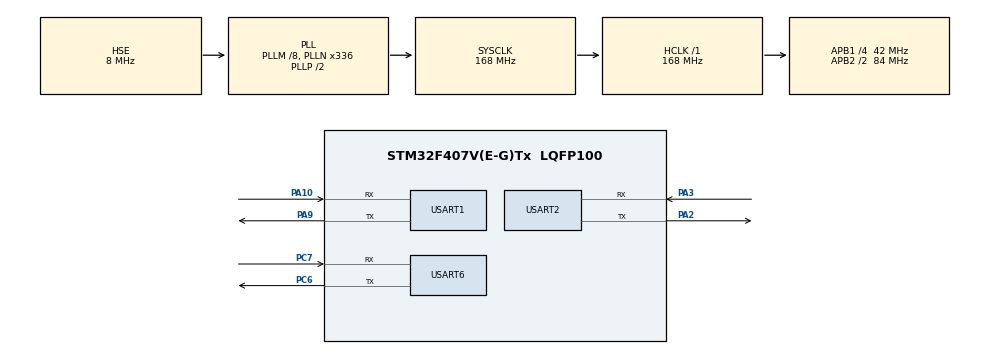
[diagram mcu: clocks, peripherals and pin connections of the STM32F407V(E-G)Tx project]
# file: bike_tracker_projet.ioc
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Mcu.Family=STM32F4
Mcu.Name=STM32F407V(E-G)Tx
Mcu.Package=LQFP100
NVIC.PriorityGroup=NVIC_PRIORITYGROUP_0
PA10.Mode=Asynchronous
PA10.Signal=USART1_RX
PA2.Mode=Asynchronous
PA2.Signal=USART2_TX
PA3.Mode=Asynchronous
PA3.Signal=USART2_RX
PA9.Mode=Asynchronous
PA9.Signal=USART1_TX
PC6.Mode=Asynchronous
PC6.Signal=USART6_TX
PC7.Mode=Asynchronous
PC7.Signal=USART6_RX
PH0-OSC_IN.Mode=HSE-External-Oscillator
PH0-OSC_IN.Signal=RCC_OSC_IN
PH1-OSC_OUT.Mode=HSE-External-Oscillator
PH1-OSC_OUT.Signal=RCC_OSC_OUT
ProjectManager.HeapSize=0x200
ProjectManager.StackSize=0x400
ProjectManager.TargetToolchain=STM32CubeIDE
RCC.48MHZClocksFreq_Value=48000000
RCC.AHBFreq_Value=168000000
RCC.APB1CLKDivider=RCC_HCLK_DIV4
RCC.APB1Freq_Value=42000000
RCC.APB1TimFreq_Value=84000000
RCC.APB2CLKDivider=RCC_HCLK_DIV2
RCC.APB2Freq_Value=84000000
RCC.APB2TimFreq_Value=168000000
RCC.CortexFreq_Value=168000000
RCC.HCLKFreq_Value=168000000
RCC.HSE_VALUE=8000000
RCC.HSI_VALUE=16000000
RCC.LSE_VALUE=32768
RCC.PLLM=8
RCC.PLLN=336
RCC.PLLQ=7
RCC.PLLSourceVirtual=RCC_PLLSOURCE_HSE
RCC.SYSCLKFreq_VALUE=168000000
RCC.SYSCLKSource=RCC_SYSCLKSOURCE_PLLCLK
RCC.VCOOutputFreq_Value=336000000
USART1.VirtualMode=VM_ASYNC
USART2.VirtualMode=VM_ASYNC
USART6.VirtualMode=VM_ASYNC
board=STM32F407G-DISC1

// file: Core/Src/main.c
/* USER CODE BEGIN Header */
/**
 ******************************************************************************
 * @file           : main.c
 * @brief          : Main program body
 ******************************************************************************
 * @attention
 *
 * Copyright (c) 2025 STMicroelectronics.
 * All rights reserved.
 *
 * This software is licensed under terms that can be found in the LICENSE file
 * in the root directory of this software component.
 * If no LICENSE file comes with this software, it is provided AS-IS.
 *
 ******************************************************************************
 */
/* USER CODE END Header */
#include "main.h"
#include <string.h>
#include <stdio.h>
#include <stdlib.h>

typedef struct {
	float latitude;
	float longitude;
	char lat_dir;               // Direction: 'N' ou 'S'
	char lon_dir;              // Direction: 'E' ou 'W'
	float altitude;
	int satellites;
	char status[10];          // "FIX OK" ou "NO FIX"
} GPS_Data;

float NMEA_to_Decimal(char *nmea_coord, char direction, int isLongitude) // Convertit les coordonnées GPS du format NMEA (degrés + minutes) vers le format décimal.
{
	if (strlen(nmea_coord) < 6)
		return 0.0;

	int deg_len = isLongitude ? 3 : 2;  // longitude a 3 chiffres de degrés
	char deg[4] = { 0 };
	strncpy(deg, nmea_coord, deg_len);
	float degrees = atof(deg);

	float minutes = atof(nmea_coord + deg_len);
	float decimal = degrees + minutes / 60.0;

	if (direction == 'S' || direction == 'W')
		decimal *= -1;

	return decimal;
}

void Parse_GPGGA(char *sentence, GPS_Data *data) {
	char *token;
	int field = 0;
	char lat_str[16] = { 0 }, lon_str[16] = { 0 };

	token = strtok(sentence, ",");  //découper la trame selon les virgules
	while (token != NULL) {
		switch (field) {
		case 1:
			break; // UTC time
		case 2:
			strcpy(lat_str, token);
			break;
		case 3:
			data->lat_dir = token[0];
			break;
		case 4:
			strcpy(lon_str, token);
			break;
		case 5:
			data->lon_dir = token[0];
			break;
		case 6:
			strcpy(data->status, (token[0] == '1') ? "FIX OK" : "NO FIX");
			break;
		case 7:
			data->satellites = atoi(token);
			break;
		case 9:
			data->altitude = atof(token);
			break;
		}
		token = strtok(NULL, ",");
		field++;
	}

	data->latitude = NMEA_to_Decimal(lat_str, data->lat_dir, 0);
	data->longitude = NMEA_to_Decimal(lon_str, data->lon_dir, 1);
}

UART_HandleTypeDef huart1;
UART_HandleTypeDef huart2;
UART_HandleTypeDef huart6;

/* USER CODE BEGIN PV */
#define GPS_BUFFER_SIZE 128
uint8_t gps_buffer[GPS_BUFFER_SIZE];
uint16_t gps_index = 0;

/* USER CODE END PV */

void SystemClock_Config(void);
static void MX_GPIO_Init(void);
static void MX_USART2_UART_Init(void);
static void MX_USART1_UART_Init(void);
static void MX_USART6_UART_Init(void);

int main(void) {

	/* MCU Configuration--------------------------------------------------------*/

	/* Reset of all peripherals, Initializes the Flash interface and the Systick. */
	HAL_Init();

	/* Configure the system clock */
	SystemClock_Config();

	/* Initialize all configured peripherals */
	MX_GPIO_Init();
	MX_USART2_UART_Init();
	MX_USART1_UART_Init();
	MX_USART6_UART_Init();

	/* Infinite loop */
	/* USER CODE BEGIN WHILE */
	while (1) {
		uint8_t rx_byte;

		// On lit 1 octet sur UART1 (GPS)
		if (HAL_UART_Receive(&huart1, &rx_byte, 1, 100) == HAL_OK) {
			gps_buffer[gps_index++] = rx_byte;

			// Si fin de trame ou buffer plein
			if (rx_byte == '\n' || gps_index >= GPS_BUFFER_SIZE) {
				gps_buffer[gps_index] = '\0';

				// On parse seulement les trames GPGGA
				if (strncmp((char*) gps_buffer, "$GPGGA", 6) == 0) {
					// Copier la trame pour le debug avant strtok
					char sentence_copy[GPS_BUFFER_SIZE];
					strncpy(sentence_copy, (char*) gps_buffer, GPS_BUFFER_SIZE);
					sentence_copy[GPS_BUFFER_SIZE - 1] = '\0';

					// Afficher la trame brute
					HAL_UART_Transmit(&huart2, (uint8_t*) sentence_copy,
							strlen(sentence_copy), 100);
					HAL_UART_Transmit(&huart2, (uint8_t*) "\r\n", 2, 100);

					GPS_Data gps_data;
					Parse_GPGGA(sentence_copy, &gps_data); // passer la copie à Parse_GPGGA

					char output[256];
					sprintf(output, "\r\n========== GPS DATA ==========\r\n"
							"Status      : %s\r\n"
							"Latitude    : %.6f %c\r\n"
							"Longitude   : %.6f %c\r\n"
							"Altitude    : %.1f m\r\n"
							"Satellites  : %d\r\n"
							"==============================\r\n",
							gps_data.status, gps_data.latitude,
							gps_data.lat_dir, gps_data.longitude,
							gps_data.lon_dir, gps_data.altitude,
							gps_data.satellites);

					HAL_UART_Transmit(&huart2, (uint8_t*) output,
							strlen(output), 100);
					// Envoi Bluetooth HC-05 via UART6
					//    HAL_UART_Transmit(&huart6, (uint8_t*)output, strlen(output), 100);
				}

				gps_index = 0; // reset buffer
			}
		}

		/* USER CODE END WHILE */

	}
}

void SystemClock_Config(void) {
	RCC_OscInitTypeDef RCC_OscInitStruct = { 0 };
	RCC_ClkInitTypeDef RCC_ClkInitStruct = { 0 };

	/** Configure the main internal regulator output voltage
	 */
	__HAL_RCC_PWR_CLK_ENABLE();
	__HAL_PWR_VOLTAGESCALING_CONFIG(PWR_REGULATOR_VOLTAGE_SCALE1);

	/** Initializes the RCC Oscillators according to the specified parameters
	 * in the RCC_OscInitTypeDef structure.
	 */
	RCC_OscInitStruct.OscillatorType = RCC_OSCILLATORTYPE_HSE;
	RCC_OscInitStruct.HSEState = RCC_HSE_ON;
	RCC_OscInitStruct.PLL.PLLState = RCC_PLL_ON;
	RCC_OscInitStruct.PLL.PLLSource = RCC_PLLSOURCE_HSE;
	RCC_OscInitStruct.PLL.PLLM = 8;
	RCC_OscInitStruct.PLL.PLLN = 336;
	RCC_OscInitStruct.PLL.PLLP = RCC_PLLP_DIV2;
	RCC_OscInitStruct.PLL.PLLQ = 7;
	if (HAL_RCC_OscConfig(&RCC_OscInitStruct) != HAL_OK) {
		Error_Handler();
	}

	/** Initializes the CPU, AHB and APB buses clocks
	 */
	RCC_ClkInitStruct.ClockType = RCC_CLOCKTYPE_HCLK | RCC_CLOCKTYPE_SYSCLK
			| RCC_CLOCKTYPE_PCLK1 | RCC_CLOCKTYPE_PCLK2;
	RCC_ClkInitStruct.SYSCLKSource = RCC_SYSCLKSOURCE_PLLCLK;
	RCC_ClkInitStruct.AHBCLKDivider = RCC_SYSCLK_DIV1;
	RCC_ClkInitStruct.APB1CLKDivider = RCC_HCLK_DIV4;
	RCC_ClkInitStruct.APB2CLKDivider = RCC_HCLK_DIV2;

	if (HAL_RCC_ClockConfig(&RCC_ClkInitStruct, FLASH_LATENCY_5) != HAL_OK) {
		Error_Handler();
	}
}

static void MX_USART1_UART_Init(void) {

	huart1.Instance = USART1;
	huart1.Init.BaudRate = 9600;
	huart1.Init.WordLength = UART_WORDLENGTH_8B;
	huart1.Init.StopBits = UART_STOPBITS_1;
	huart1.Init.Parity = UART_PARITY_NONE;
	huart1.Init.Mode = UART_MODE_TX_RX;
	huart1.Init.HwFlowCtl = UART_HWCONTROL_NONE;
	huart1.Init.OverSampling = UART_OVERSAMPLING_16;
	if (HAL_UART_Init(&huart1) != HAL_OK) {
		Error_Handler();
	}

}

static void MX_USART2_UART_Init(void) {

	huart2.Instance = USART2;
	huart2.Init.BaudRate = 115200;
	huart2.Init.WordLength = UART_WORDLENGTH_8B;
	huart2.Init.StopBits = UART_STOPBITS_1;
	huart2.Init.Parity = UART_PARITY_NONE;
	huart2.Init.Mode = UART_MODE_TX_RX;
	huart2.Init.HwFlowCtl = UART_HWCONTROL_NONE;
	huart2.Init.OverSampling = UART_OVERSAMPLING_16;
	if (HAL_UART_Init(&huart2) != HAL_OK) {
		Error_Handler();
	}

}

static void MX_USART6_UART_Init(void) {

	huart6.Instance = USART6;
	huart6.Init.BaudRate = 9600;
	huart6.Init.WordLength = UART_WORDLENGTH_8B;
	huart6.Init.StopBits = UART_STOPBITS_1;
	huart6.Init.Parity = UART_PARITY_NONE;
	huart6.Init.Mode = UART_MODE_TX_RX;
	huart6.Init.HwFlowCtl = UART_HWCONTROL_NONE;
	huart6.Init.OverSampling = UART_OVERSAMPLING_16;
	if (HAL_UART_Init(&huart6) != HAL_OK) {
		Error_Handler();
	}

}

static void MX_GPIO_Init(void) {

	/* GPIO Ports Clock Enable */
	__HAL_RCC_GPIOH_CLK_ENABLE();
	__HAL_RCC_GPIOA_CLK_ENABLE();
	__HAL_RCC_GPIOC_CLK_ENABLE();

}

void Error_Handler(void) {
	__disable_irq();
	while (1) {
	}
}
